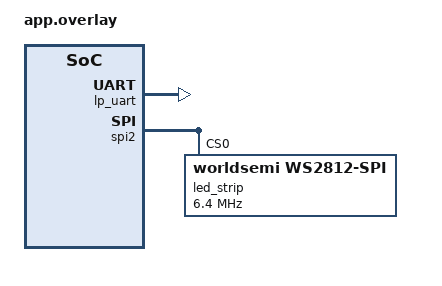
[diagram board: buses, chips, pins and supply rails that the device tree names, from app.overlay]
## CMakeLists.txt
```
# SPDX-License-Identifier: Apache-2.0

cmake_minimum_required(VERSION 3.20.0)

set(REMOTE_ZEPHYR_DIR ${CMAKE_CURRENT_BINARY_DIR}/../app_ulp_lpcore/zephyr)

find_package(Zephyr REQUIRED HINTS $ENV{ZEPHYR_BASE})

message(STATUS "${CONFIG_BOARD_TARGET} compile as Master in this sample")
project(app_ulp_hpcore)

target_sources(app PRIVATE src/main.c)
```

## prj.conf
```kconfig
CONFIG_ULP_COPROC_ENABLED=y
CONFIG_POWEROFF=y
CONFIG_LOG=y
CONFIG_LED_STRIP=y
CONFIG_LED_STRIP_LOG_LEVEL_DBG=y
```

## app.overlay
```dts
/*
 * Copyright (c) 2025 Espressif Systems (Shanghai) Co., Ltd.
 *
 * SPDX-License-Identifier: Apache-2.0
 */

#include <mem.h>
#include <zephyr/dt-bindings/led/led.h>

&lp_uart {
	status = "okay";
};

&sramlp {
	reg = <0x50000000 DT_SIZE_K(8)>;
};

&spi2 {
	/* Workaround to support WS2812 driver */
	line-idle-low;

	led_strip: ws2812@0 {
		compatible = "worldsemi,ws2812-spi";

		/* SPI */
		reg = <0>; /* ignored, but necessary for SPI bindings */
		spi-max-frequency = <6400000>;

		/* WS2812 */
		chain-length = <1>; /* arbitrary; change at will */
		spi-cpha;
		spi-one-frame = <0xf0>; /* 11110000: 625 ns high and 625 ns low */
		spi-zero-frame = <0xc0>; /* 11000000: 312.5 ns high and 937.5 ns low */
		color-mapping = <LED_COLOR_ID_GREEN
				 LED_COLOR_ID_RED
				 LED_COLOR_ID_BLUE>;
	};
};

&pinctrl {
	spim2_default: spim2_default {
		group2 {
			pinmux = <SPIM2_MOSI_GPIO8>;
		};
	};
};

/ {
	aliases {
		led-strip = &led_strip;
	};
};
```

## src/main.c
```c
/*
 * Copyright (c) 2025 Espressif Systems (Shanghai) Co., Ltd.
 *
 * SPDX-License-Identifier: Apache-2.0
 */

#include <stdio.h>
#include <zephyr/sys/poweroff.h>
#include <zephyr/kernel.h>
#include <zephyr/sys/poweroff.h>
#include <zephyr/drivers/hwinfo.h>
#include <ulp_lp_core.h>
#include <esp_sleep.h>
#include <zephyr/drivers/led_strip.h>
#include <zephyr/drivers/gpio.h>

#define LOG_LEVEL 4
#include <zephyr/logging/log.h>
LOG_MODULE_REGISTER(main);

#define STRIP_NODE		DT_ALIAS(led_strip)
#define STRIP_NUM_PIXELS	DT_PROP(DT_ALIAS(led_strip), chain_length)

#define SW0_NODE	DT_ALIAS(sw0)

#define RGB(_r, _g, _b) { .r = (_r), .g = (_g), .b = (_b) }

static const struct led_rgb colors[] = {
	RGB(0x0f, 0x00, 0x00), /* red */
	RGB(0x00, 0x0f, 0x00), /* green */
	RGB(0x00, 0x00, 0x0f), /* blue */
};

static struct led_rgb pixels[STRIP_NUM_PIXELS];

static const struct device *const strip = DEVICE_DT_GET(STRIP_NODE);

static const struct gpio_dt_spec button = GPIO_DT_SPEC_GET_OR(SW0_NODE, gpios,
							      {0});
static struct gpio_callback button_cb_data;

void button_pressed(const struct device *dev, struct gpio_callback *cb,
		    uint32_t pins)
{
	printf("Button pressed! Enabling ULP wake up and triggering a PMU interrupt on it.\n");
	esp_sleep_enable_ulp_wakeup();
	ulp_lp_core_sw_intr_trigger();
	printf("Entering deep sleep\n");
	sys_poweroff();

}

int main(void)
{
	uint32_t reset_cause;
	size_t color = 0;
	int ret;

	hwinfo_get_reset_cause(&reset_cause);

	switch (reset_cause) {
	case RESET_LOW_POWER_WAKE:
		LOG_INF("Wake up from deep sleep");
		break;
	default:
		LOG_INF("Not a deep sleep reset");
	}

	if (!device_is_ready(strip)) {
		LOG_ERR("LED strip device %s is not ready", strip->name);
		return 0;
	}

	if (!gpio_is_ready_dt(&button)) {
		LOG_ERR("Error: button device %s is not ready\n",
		       button.port->name);
		return 0;
	}

	ret = gpio_pin_configure_dt(&button, GPIO_INPUT);
	if (ret != 0) {
		LOG_ERR("Error %d: failed to configure %s pin %d",
		       ret, button.port->name, button.pin);
		return 0;
	}

	ret = gpio_pin_interrupt_configure_dt(&button,
					      GPIO_INT_EDGE_TO_ACTIVE);
	if (ret != 0) {
		LOG_ERR("Error %d: failed to configure interrupt on %s pin %d",
			ret, button.port->name, button.pin);
		return 0;
	}

	gpio_init_callback(&button_cb_data, button_pressed, BIT(button.pin));
	gpio_add_callback(button.port, &button_cb_data);

	LOG_INF("Press the button (BOOT) to enter deep sleep");

	while (1) {
		for (size_t cursor = 0; cursor < ARRAY_SIZE(pixels); cursor++) {
			memset(&pixels, 0x00, sizeof(pixels));
			memcpy(&pixels[cursor], &colors[color], sizeof(struct led_rgb));

			ret = led_strip_update_rgb(strip, pixels, STRIP_NUM_PIXELS);
			if (ret) {
				LOG_ERR("Couldn't update strip: %d", ret);
			}

			k_sleep(K_MSEC(100));
		}

		color = (color + 1) % ARRAY_SIZE(colors);
	}


	return 0;
}
```
